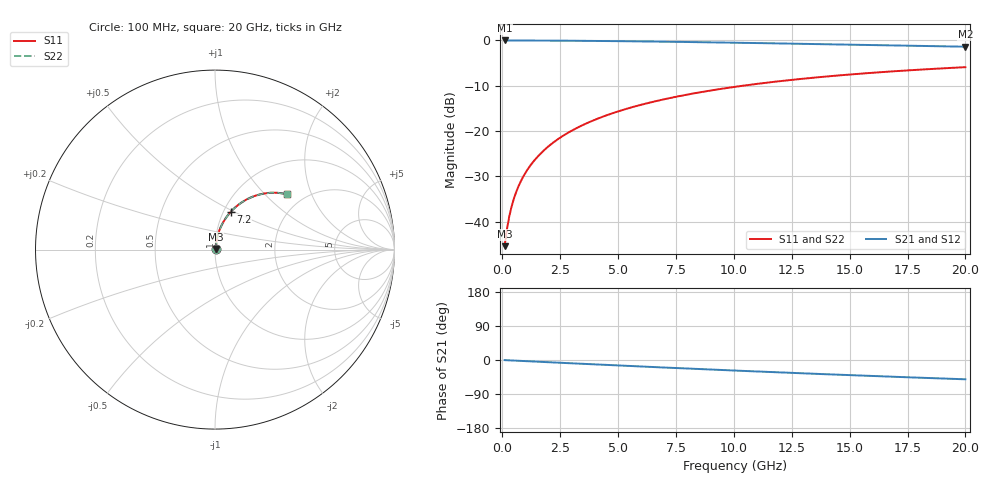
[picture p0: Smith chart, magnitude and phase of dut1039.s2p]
! Touchstone file exported from HFSS 2026.1.0
!  File:  C:/ffzhzh/LocalFiles/Ansys_Project_Files/temp_train_TMRDL_1039_1783160173_43440.aedt
!  Generated:  06:17:38 PM Jul  4, 2026
!  Design:  TMRDL
!  Project:  temp_train_TMRDL_1039_1783160173_43440
! Variables:
!  h_bsmrdl = 2um
!  h_ox = 20um
!  h_rdl = 5um
!  h_sub = 80um
!  h_tmrdl = 4.27um
!  h_tsv = 80um
!  h_via = 3um
!  l_bsmrdl = 300um
!  l_sub = 1138.25um
!  l_tmrdl = 738.25um
!  m_sub = 200um
!  pitch = 48.61um
!  r_tsv = 6um
!  s_tmrdl = 10um
!  w_bsmrdl = 18um
!  w_sub = 500um
!  w_tmrdl = 15.75um
!  x_tsv_center1 = 746.125um
!  x_tsv_center2 = 1064.125um
!  x_tsv_center3 = 1818.125um
!  x_tsv_center4 = 2136.125um
!  x_tsv_center5 = 2890.125um
!  x_tsv_center6 = 3208.125um
# GHz S MA R 50.000000
! Terminal data exported
! Port[1] = TM_RDL1_1_T1
! Port[2] = TM_RDL1_1_T2
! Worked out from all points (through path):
!   200 points, 100 MHz to 20 GHz, reference 50 ohm
!   highest |S21| = -0.03 dB at 100 MHz (marker M1); lowest = -1.4 dB at 20 GHz (marker M2)
!   group delay of S21, straight-line fit = 7.08 ps
!   lowest |S11| = -45.4 dB at 100 MHz (marker M3), VSWR 1.01, Z = 50.4 + j0.359 ohm
!   |S11| at or under -10 dB: start of sweep to 10.43 GHz
!   |S22| runs from -45.4 to -5.9 dB; largest |S21 - S12| = 4.9e-15
!   S11 on the Smith chart (normalised r, x): 100 MHz: 1.01, +0.01; 7.2 GHz: 1.08, +0.48; 20 GHz: 1.64, +1.36
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0.1  0.005345 41.7  0.996 -0.3  0.996 -0.3  0.005345 41.7
! Gamma 0 0 0 0
! Port Impedance 50 0 50 0
0.2  0.008192 59.5  0.9959 -0.6  0.9959 -0.6  0.008192 59.5
0.3  0.01136 67.3  0.9957 -0.9  0.9957 -0.9  0.01136 67.3
0.4  0.01461 71.5  0.9956 -1.2  0.9956 -1.2  0.01461 71.5
0.5  0.01789 74.1  0.9954 -1.5  0.9954 -1.5  0.01789 74.1
0.6  0.02118 75.9  0.9953 -1.8  0.9953 -1.8  0.02118 75.9
0.8  0.0278 78.0  0.995 -2.4  0.995 -2.4  0.0278 78.0
1.1  0.03778 79.5  0.9945 -3.2  0.9945 -3.2  0.03778 79.4
1.5  0.05112 80.0  0.9937 -4.4  0.9937 -4.4  0.05112 80.0
1.8  0.06111 79.9  0.993 -5.3  0.993 -5.3  0.06111 79.9
2.1  0.07106 79.5  0.9921 -6.1  0.9921 -6.1  0.07106 79.5
2.7  0.09083 78.5  0.9901 -7.9  0.9901 -7.9  0.09083 78.5
3.5  0.1168 76.7  0.9867 -10.2  0.9867 -10.2  0.1168 76.7
4.2  0.1391 75.0  0.9833 -12.1  0.9833 -12.1  0.1391 75.0
5  0.1641 72.9  0.9787 -14.4  0.9787 -14.4  0.1641 72.9
6.8  0.218 68.3  0.9668 -19.3  0.9668 -19.3  0.218 68.2
7.2  0.2295 67.2  0.9639 -20.4  0.9639 -20.4  0.2295 67.2
8.6  0.2685 63.7  0.9529 -24.1  0.9529 -24.1  0.2685 63.6
10.1  0.3079 59.9  0.9403 -28.0  0.9403 -28.0  0.308 59.9
13.4  0.3858 52.0  0.9103 -36.2  0.9103 -36.2  0.3858 52.0
16.7  0.4514 44.6  0.8794 -43.8  0.8794 -43.8  0.4514 44.5
20  0.5052 37.7  0.8498 -50.9  0.8498 -50.9  0.5052 37.6
